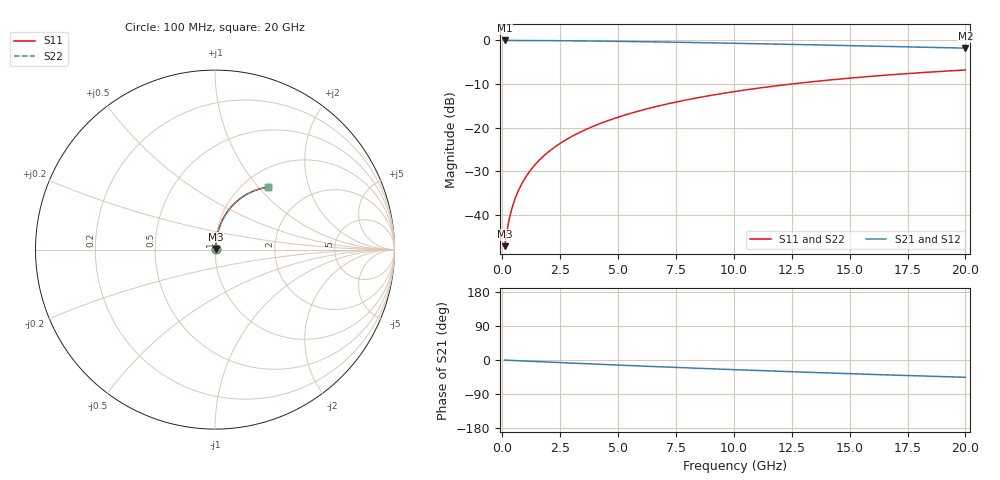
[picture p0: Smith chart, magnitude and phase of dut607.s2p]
! Touchstone file exported from HFSS 2024.1.0
!  File:  C:/UserFiles/LocalFiles/RDL_TSV_Batchsim/temp_RDL_bottom_607_1779783445.aedt
!  Generated:  04:19:53 PM May 26, 2026
!  Design:  RDL_bottom
!  Project:  temp_RDL_bottom_607_1779783445
!  Setup:  Setup1
!  Solution:  Sweep
! Variables:
!  dtsv = 10.80580581um
!  hbump = 3um
!  htsv = 59.19um
!  ldown = 629.62um
!  lrdl = 100um
!  p = 40
!  p1 = 50.38um
!  rhole = 1um
!  t = 450um
!  tdown = 4.2um
!  trdl = 3.915915916um
!  wdown = 16.02um
!  wrdl = 20um
# GHz S MA R 50.000000
! Terminal data exported
! Port[1] = RDL1_T1
! Port[2] = RDL1_T2
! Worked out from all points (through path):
!   200 points, 100 MHz to 20 GHz, reference 50 ohm
!   highest |S21| = -0.03 dB at 100 MHz (marker M1); lowest = -1.8 dB at 20 GHz (marker M2)
!   group delay of S21, straight-line fit = 6.32 ps
!   lowest |S11| = -47.1 dB at 100 MHz (marker M3), VSWR 1.01, Z = 50.3 + j0.281 ohm
!   |S11| at or under -10 dB: start of sweep to 12.48 GHz
!   |S22| runs from -47.1 to -6.8 dB; largest |S21 - S12| = 8e-15
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0.1  0.004416 39.2  0.9966 -0.3  0.9966 -0.3  0.004416 39.2
! Gamma 0 0 0 0
! Port Impedance 50 0 50 0
0.2  0.006571 57.3  0.9964 -0.6  0.9964 -0.6  0.006571 57.3
0.3  0.009006 65.7  0.9963 -0.8  0.9963 -0.8  0.009006 65.7
0.4  0.01151 70.4  0.9961 -1.1  0.9961 -1.1  0.01151 70.4
0.5  0.01405 73.4  0.996 -1.4  0.996 -1.4  0.01405 73.4
0.6  0.0166 75.5  0.9958 -1.7  0.9958 -1.7  0.0166 75.5
0.8  0.02175 78.1  0.9954 -2.2  0.9954 -2.2  0.02175 78.1
1.1  0.02955 80.2  0.9948 -3.0  0.9948 -3.0  0.02955 80.2
1.5  0.04 81.4  0.9937 -4.1  0.9937 -4.1  0.04001 81.4
1.8  0.04788 81.7  0.9928 -5.0  0.9928 -5.0  0.04788 81.7
2.1  0.05576 81.8  0.9916 -5.8  0.9916 -5.8  0.05576 81.8
2.7  0.07155 81.5  0.9889 -7.4  0.9889 -7.4  0.07155 81.5
3.5  0.0926 80.7  0.9843 -9.5  0.9843 -9.5  0.09261 80.7
4.2  0.111 79.7  0.9797 -11.4  0.9797 -11.4  0.111 79.7
5  0.132 78.4  0.9736 -13.4  0.9736 -13.4  0.132 78.4
5.9  0.1555 76.8  0.9661 -15.7  0.9661 -15.7  0.1555 76.9
6.8  0.1787 75.2  0.958 -17.9  0.958 -17.9  0.1788 75.2
8.4  0.2194 72.0  0.9424 -21.8  0.9424 -21.8  0.2194 72.1
10.1  0.2611 68.6  0.9246 -25.7  0.9246 -25.7  0.2612 68.6
13.4  0.3362 61.9  0.8881 -32.8  0.8881 -32.8  0.3363 61.9
16.7  0.402 55.5  0.8508 -39.5  0.8508 -39.5  0.4021 55.5
20  0.458 49.5  0.8142 -45.6  0.8142 -45.6  0.4581 49.5
